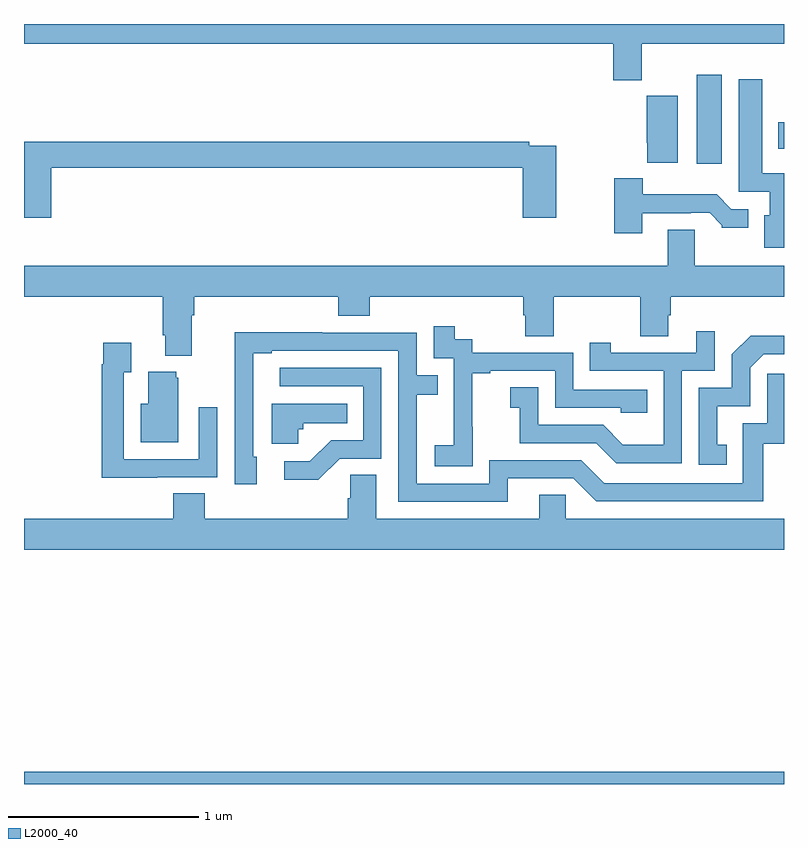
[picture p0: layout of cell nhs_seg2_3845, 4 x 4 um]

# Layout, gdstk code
import gdstk
lib = gdstk.Library(unit=1e-6, precision=1e-09)
def R(c, l, rs):  # rectangles x0, y0, x1, y1
    for r in rs: c.add(gdstk.rectangle(r[:2], r[2:], *l))
def P(c, l, *ps):  # polygons
    for p in ps: c.add(gdstk.Polygon(p, *l))
L2000_40 = (2000, 40)

nhs_seg2_3845 = lib.new_cell('nhs_seg2_3845')
R(nhs_seg2_3845, L2000_40, [(315,583.8,319,583.864), (318.542,587.064,318.673,587.533), (318.971,587.144,319,587.284)])
P(nhs_seg2_3845, L2000_40, [(318.251,587.696),(319,587.696),(319,587.8),(315,587.8),(315,587.696),(318.101,587.696),(318.101,587.504),(318.251,587.504)],
  [(319,587.014),(318.886,587.014),(318.886,587.509),(318.761,587.509),(318.761,586.917),(318.924,586.917),(318.924,586.794),(318.896,586.794),(318.896,586.622),(319,586.622)],
  [(318.442,587.422),(318.278,587.422),(318.278,587.176),(318.28,587.176),(318.28,587.069),(318.442,587.069)],
  [(315.143,587.044),(317.624,587.044),(317.624,586.779),(317.802,586.779),(317.802,587.16),(317.66,587.16),(317.66,587.18),(315,587.18),(315,586.779),(315.143,586.779)],
  [(318.253,586.803),(318.509,586.803),(318.509,586.806),(318.608,586.806),(318.672,586.742),(318.672,586.727),(318.811,586.727),(318.811,586.824),(318.723,586.824),(318.645,586.903),(318.256,586.903),(318.256,586.987),(318.106,586.987),(318.106,586.698),(318.253,586.698)],
  [(315,586.364),(315.731,586.364),(315.731,586.162),(315.743,586.162),(315.743,586.055),(315.883,586.055),(315.883,586.268),(315.896,586.268),(315.896,586.364),(316.655,586.364),(316.655,586.265),(316.82,586.265),(316.82,586.364),(317.627,586.364),(317.627,586.266),(317.639,586.266),(317.639,586.156),(317.787,586.156),(317.787,586.364),(318.244,586.364),(318.244,586.156),(318.391,586.156),(318.391,586.266),(318.404,586.266),(318.404,586.364),(319,586.364),(319,586.528),(318.529,586.528),(318.529,586.718),(318.389,586.718),(318.389,586.528),(315,586.528)],
  [(317.361,585.679),(317.36,585.679),(317.36,585.963),(317.455,585.963),(317.455,585.975),(317.796,585.975),(317.796,585.78),(318.141,585.78),(318.141,585.753),(318.281,585.753),(318.281,585.876),(317.892,585.876),(317.892,586.071),(317.358,586.071),(317.358,586.14),(317.266,586.14),(317.266,586.21),(317.157,586.21),(317.157,586.041),(317.262,586.041),(317.262,585.812),(317.261,585.812),(317.261,585.583),(317.163,585.583),(317.163,585.473),(317.361,585.473)],
  [(318.462,585.975),(318.636,585.975),(318.636,586.183),(318.539,586.183),(318.539,586.071),(318.088,586.071),(318.088,586.123),(317.977,586.123),(317.977,585.975),(318.366,585.975),(318.366,585.586),(318.152,585.586),(318.048,585.69),(317.706,585.69),(317.706,585.889),(317.559,585.889),(317.559,585.779),(317.608,585.779),(317.608,585.594),(318.011,585.594),(318.116,585.489),(318.462,585.489)],
  [(317.545,585.408),(317.892,585.408),(318.012,585.288),(318.892,585.288),(318.892,585.591),(319,585.591),(319,585.958),(318.912,585.958),(318.912,585.699),(318.783,585.699),(318.783,585.384),(318.054,585.384),(317.934,585.504),(317.448,585.504),(317.448,585.381),(317.067,585.381),(317.067,585.85),(317.177,585.85),(317.177,585.951),(317.067,585.951),(317.067,586.176),(316.571,586.176),(316.571,586.178),(316.108,586.178),(316.108,585.871),(316.11,585.871),(316.11,585.378),(316.225,585.378),(316.225,585.522),(316.206,585.522),(316.206,586.068),(316.303,586.068),(316.303,586.08),(316.971,586.08),(316.971,585.285),(317.545,585.285)],
  [(318.698,585.585),(318.649,585.585),(318.649,585.789),(318.822,585.789),(318.822,585.99),(318.894,586.062),(319,586.062),(319,586.16),(318.824,586.16),(318.726,586.062),(318.726,585.885),(318.552,585.885),(318.552,585.48),(318.698,585.48)],
  [(315.701,585.414),(316.017,585.414),(316.017,585.784),(315.921,585.784),(315.921,585.51),(315.525,585.51),(315.525,585.967),(315.565,585.967),(315.565,586.123),(315.417,586.123),(315.417,586.01),(315.409,586.01),(315.409,585.413),(315.701,585.413)],
  [(316.662,585.513),(316.881,585.513),(316.881,585.99),(316.347,585.99),(316.347,585.894),(316.785,585.894),(316.785,585.609),(316.616,585.609),(316.505,585.498),(316.371,585.498),(316.371,585.401),(316.549,585.401)],
  [(315.811,585.939),(315.8,585.939),(315.8,585.97),(315.653,585.97),(315.653,585.802),(315.614,585.802),(315.614,585.599),(315.811,585.599)],
  [(316.443,585.666),(316.47,585.666),(316.47,585.698),(316.7,585.698),(316.7,585.802),(316.304,585.802),(316.304,585.59),(316.443,585.59)],
  [(319,585.196),(317.85,585.196),(317.85,585.323),(317.711,585.323),(317.711,585.196),(316.855,585.196),(316.855,585.428),(316.716,585.428),(316.716,585.305),(316.703,585.305),(316.703,585.196),(315.95,585.196),(315.95,585.329),(315.785,585.329),(315.785,585.196),(315,585.196),(315,585.032),(319,585.032)])

lib.write_gds('nhs_seg2_3845.gds')
